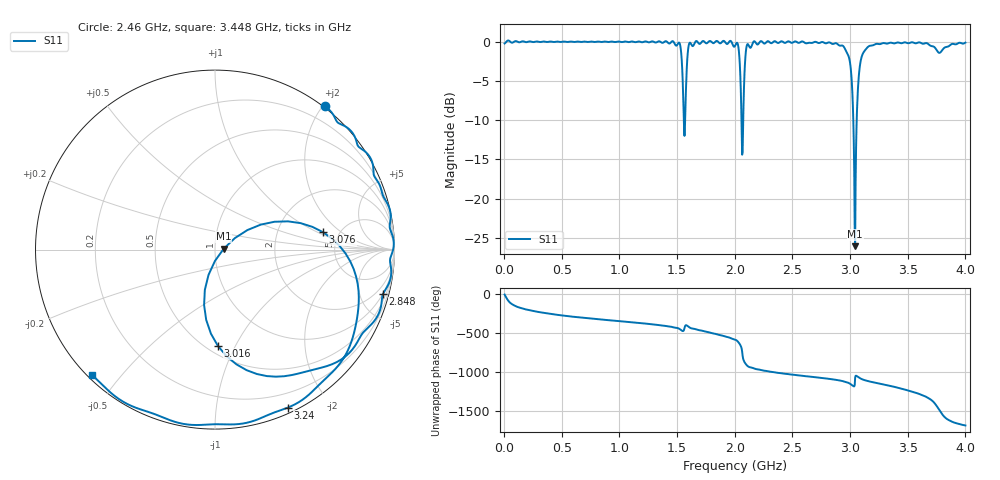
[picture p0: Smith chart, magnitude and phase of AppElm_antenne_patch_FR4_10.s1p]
! TOUCHSTONE file generated by CST MICROWAVE STUDIO
! Date and time: Tue Jun  7 19:07:22 2022
! Project name: AppElm_antenne_patch_FR4.cst
! Parameters = {L=45; W=70.2; e=0.035; h=1.6; lambda=0.190476; ls=120; w0=1.6; w1=0.533333; ws=120; y0=20; y1=23.8095}
! Header version: 2018
! Port assignment regex: !\s*Touchstone port\s*([0-9]+)\s*=\s*(CST MWS port|CST DS port)\s*([0-9]+|Zmin|Zmax)\s*\(\"(.*)\"\)(\s*mode\s*([0-9]+))?.*
! Touchstone port assignment:
! Touchstone port 1 = CST MWS port 1 ("")
# GHz S MA R 50
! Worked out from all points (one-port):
!   1000 points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, 4 MHz to 4 GHz, reference 50 ohm
!   lowest |S11| = -26.1 dB at 3.044 GHz (marker M1), VSWR 1.10, Z = 55.2 + j0.655 ohm
!   |S11| at or under -10 dB: 1.558 GHz to 1.569 GHz (10.94 MHz wide, 0.699 % of centre); 2.058 GHz to 2.073 GHz (15.03 MHz wide, 0.728 % of centre); 3.028 GHz to 3.057 GHz (29.55 MHz wide, 0.971 % of centre)
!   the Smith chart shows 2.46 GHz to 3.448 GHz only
!   S11 on the Smith chart (normalised r, x): 2.46 GHz: -0.01, +2.02; 2.848 GHz: 0.95, -7.52; 3.016 GHz: 0.57, -0.85; 3.076 GHz: 3.74, +1.16; 3.24 GHz: 0.05, -1.56; 3.448 GHz: 0.01, -0.42
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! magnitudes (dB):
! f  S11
! 4 MHz  -0.2
! 504 MHz  0.0
! 1.004 GHz  0.0
! 1.504 GHz  -0.3
! 1.528 GHz  -0.5
! 1.564 GHz  -12.0
! 1.616 GHz  -0.2
! 2.004 GHz  -0.5
! 2.032 GHz  -0.7
! 2.064 GHz  -14.4
! 2.08 GHz  -5.8
! 2.1 GHz  -0.8
! 2.116 GHz  -0.3
! 2.46 GHz  0.0
! 2.504 GHz  -0.1
! 2.848 GHz  -0.3
! 2.952 GHz  -0.8
! 3.004 GHz  -3.2
! 3.016 GHz  -5.4
! 3.028 GHz  -10.0
! 3.044 GHz  -26.1
! 3.056 GHz  -10.7
! 3.076 GHz  -4.3
! 3.116 GHz  -1.4
! 3.24 GHz  -0.3
! 3.448 GHz  -0.2
! 3.504 GHz  -0.2
! 4 GHz  -0.1
